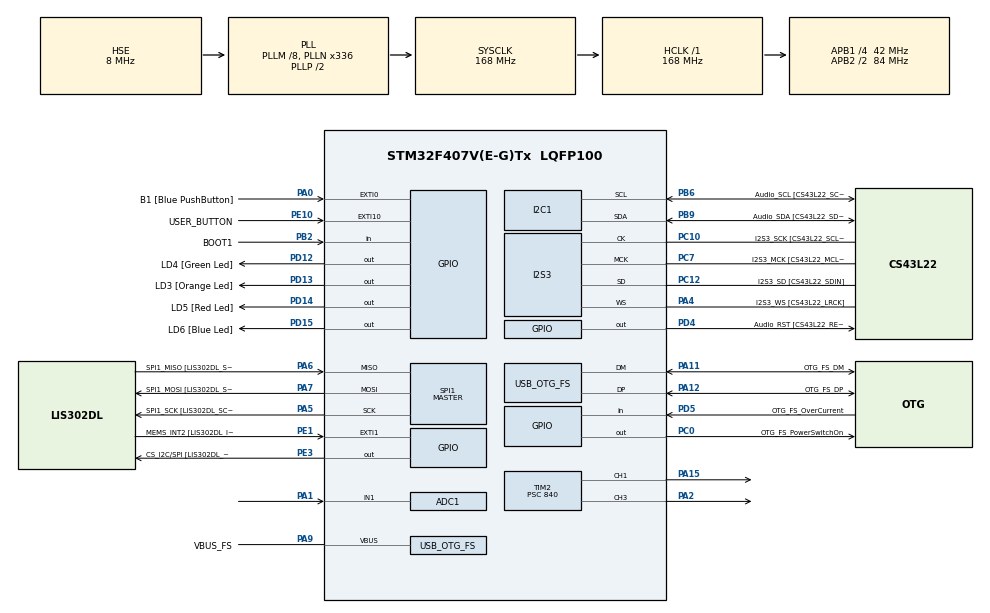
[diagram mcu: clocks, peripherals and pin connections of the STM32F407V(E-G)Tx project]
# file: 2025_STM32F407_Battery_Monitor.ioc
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ADC1.Channel-0\#ChannelRegularConversion=ADC_CHANNEL_1
ADC1.ContinuousConvMode=ENABLE
ADC1.NbrOfConversionFlag=1
ADC1.Rank-0\#ChannelRegularConversion=1
ADC1.SamplingTime-0\#ChannelRegularConversion=ADC_SAMPLETIME_480CYCLES
ADC1.master=1
I2S3.AudioFreq-Half_Duplex_Master=I2S_AUDIOFREQ_96K
I2S3.ErrorAudioFreq=-2.34 %
I2S3.ErrorAudioFreq-Half_Duplex_Master=0.8 %
I2S3.FullDuplexMode=I2S_FULLDUPLEXMODE_DISABLE
I2S3.Instance=SPI$Index
I2S3.RealAudioFreq=93.75 KHz
I2S3.RealAudioFreq-Half_Duplex_Master=96.774 KHz
I2S3.VirtualMode=I2S_MODE_MASTER
Mcu.Family=STM32F4
Mcu.Name=STM32F407V(E-G)Tx
Mcu.Package=LQFP100
NVIC.ADC_IRQn=true\:0\:0\:false\:false\:true\:true\:true\:true
NVIC.EXTI15_10_IRQn=true\:0\:0\:false\:false\:true\:true\:true\:true
NVIC.OTG_FS_IRQn=true\:0\:0\:false\:false\:true\:true\:true\:true
NVIC.PriorityGroup=NVIC_PRIORITYGROUP_0
NVIC.TIM3_IRQn=true\:0\:0\:false\:false\:true\:true\:true\:true
PA0-WKUP.GPIO_Label=B1 [Blue PushButton]
PA0-WKUP.GPIO_ModeDefaultEXTI=GPIO_MODE_EVT_RISING
PA0-WKUP.GPIO_PuPd=GPIO_NOPULL
PA0-WKUP.Signal=GPXTI0
PA1.Signal=ADCx_IN1
PA10.GPIO_Label=OTG_FS_ID
PA10.GPIO_Mode=GPIO_MODE_AF_PP
PA10.GPIO_PuPd=GPIO_NOPULL
PA10.GPIO_Speed=GPIO_SPEED_FREQ_LOW
PA10.Signal=USB_OTG_FS_ID
PA11.GPIO_Label=OTG_FS_DM
PA11.GPIO_Mode=GPIO_MODE_AF_PP
PA11.GPIO_PuPd=GPIO_NOPULL
PA11.GPIO_Speed=GPIO_SPEED_FREQ_LOW
PA11.Mode=Host_Only
PA11.Signal=USB_OTG_FS_DM
PA12.GPIO_Label=OTG_FS_DP
PA12.GPIO_Mode=GPIO_MODE_AF_PP
PA12.GPIO_PuPd=GPIO_NOPULL
PA12.GPIO_Speed=GPIO_SPEED_FREQ_LOW
PA12.Mode=Host_Only
PA12.Signal=USB_OTG_FS_DP
PA13.GPIO_Label=SWDIO
PA13.Mode=Serial_Wire
PA13.Signal=SYS_JTMS-SWDIO
PA14.GPIO_Label=SWCLK
PA14.Mode=Serial_Wire
PA14.Signal=SYS_JTCK-SWCLK
PA15.Signal=S_TIM2_CH1_ETR
PA2.Signal=S_TIM2_CH3
PA4.GPIO_Label=I2S3_WS [CS43L22_LRCK]
PA4.GPIO_Mode=GPIO_MODE_AF_PP
PA4.GPIO_PuPd=GPIO_NOPULL
PA4.GPIO_Speed=GPIO_SPEED_FREQ_LOW
PA4.Mode=Half_Duplex_Master
PA4.Signal=I2S3_WS
PA5.GPIO_Label=SPI1_SCK [LIS302DL_SCL/SPC]
PA5.GPIO_Mode=GPIO_MODE_AF_PP
PA5.GPIO_PuPd=GPIO_NOPULL
PA5.GPIO_Speed=GPIO_SPEED_FREQ_LOW
PA5.Mode=Full_Duplex_Master
PA5.Signal=SPI1_SCK
PA6.GPIO_Label=SPI1_MISO [LIS302DL_SDO]
PA6.GPIO_Mode=GPIO_MODE_AF_PP
PA6.GPIO_PuPd=GPIO_NOPULL
PA6.GPIO_Speed=GPIO_SPEED_FREQ_LOW
PA6.Mode=Full_Duplex_Master
PA6.Signal=SPI1_MISO
PA7.GPIO_Label=SPI1_MOSI [LIS302DL_SDA/SDI/SDO]
PA7.GPIO_Mode=GPIO_MODE_AF_PP
PA7.GPIO_PuPd=GPIO_NOPULL
PA7.GPIO_Speed=GPIO_SPEED_FREQ_LOW
PA7.Mode=Full_Duplex_Master
PA7.Signal=SPI1_MOSI
PA9.GPIO_Label=VBUS_FS
PA9.GPIO_Mode=GPIO_MODE_INPUT
PA9.GPIO_PuPd=GPIO_NOPULL
PA9.Mode=Activate_VBUS
PA9.Signal=USB_OTG_FS_VBUS
PB10.GPIO_Label=CLK_IN [MP45DT02_CLK]
PB10.GPIO_Mode=GPIO_MODE_AF_PP
PB10.GPIO_PuPd=GPIO_NOPULL
PB10.GPIO_Speed=GPIO_SPEED_FREQ_LOW
PB10.Signal=I2S2_CK
PB2.GPIO_Label=BOOT1
PB2.GPIO_Mode=GPIO_MODE_INPUT
PB2.GPIO_PuPd=GPIO_NOPULL
PB2.Signal=GPIO_Input
PB3.GPIO_Label=SWO
PB3.Signal=SYS_JTDO-SWO
PB6.GPIO_Label=Audio_SCL [CS43L22_SCL]
PB6.GPIO_Mode=GPIO_MODE_AF_OD
PB6.GPIO_Pu=GPIO_PULLUP
PB6.GPIO_PuPd=GPIO_NOPULL
PB6.GPIO_Speed=GPIO_SPEED_FREQ_LOW
PB6.Mode=I2C
PB6.Signal=I2C1_SCL
PB9.GPIO_Label=Audio_SDA [CS43L22_SDA]
PB9.GPIO_Mode=GPIO_MODE_AF_OD
PB9.GPIO_Pu=GPIO_PULLUP
PB9.GPIO_PuPd=GPIO_NOPULL
PB9.GPIO_Speed=GPIO_SPEED_FREQ_LOW
PB9.Mode=I2C
PB9.Signal=I2C1_SDA
PC0.GPIO_Label=OTG_FS_PowerSwitchOn
PC0.GPIO_PuPd=GPIO_NOPULL
PC0.GPIO_Speed=GPIO_SPEED_FREQ_LOW
PC0.PinState=GPIO_PIN_SET
PC0.Signal=GPIO_Output
PC10.GPIO_Label=I2S3_SCK [CS43L22_SCLK]
PC10.GPIO_Mode=GPIO_MODE_AF_PP
PC10.GPIO_PuPd=GPIO_NOPULL
PC10.GPIO_Speed=GPIO_SPEED_FREQ_LOW
PC10.Mode=Half_Duplex_Master
PC10.Signal=I2S3_CK
PC12.GPIO_Label=I2S3_SD [CS43L22_SDIN]
PC12.GPIO_Mode=GPIO_MODE_AF_PP
PC12.GPIO_PuPd=GPIO_NOPULL
PC12.GPIO_Speed=GPIO_SPEED_FREQ_LOW
PC12.Mode=Half_Duplex_Master
PC12.Signal=I2S3_SD
PC14-OSC32_IN.GPIO_Label=PC14-OSC32_IN
PC14-OSC32_IN.Mode=LSE-External-Oscillator
PC14-OSC32_IN.Signal=RCC_OSC32_IN
PC15-OSC32_OUT.GPIO_Label=PC15-OSC32_OUT
PC15-OSC32_OUT.Mode=LSE-External-Oscillator
PC15-OSC32_OUT.Signal=RCC_OSC32_OUT
PC3.GPIO_Label=PDM_OUT [MP45DT02_DOUT]
PC3.GPIO_Mode=GPIO_MODE_AF_PP
PC3.GPIO_PuPd=GPIO_NOPULL
PC3.GPIO_Speed=GPIO_SPEED_FREQ_LOW
PC3.Signal=I2S2_SD
PC7.GPIO_Label=I2S3_MCK [CS43L22_MCLK]
PC7.GPIO_Mode=GPIO_MODE_AF_PP
PC7.GPIO_PuPd=GPIO_NOPULL
PC7.GPIO_Speed=GPIO_SPEED_FREQ_LOW
PC7.Mode=Master_Clock_Activated
PC7.Signal=I2S3_MCK
PD12.GPIO_Label=LD4 [Green Led]
PD12.GPIO_PuPd=GPIO_NOPULL
PD12.GPIO_Speed=GPIO_SPEED_FREQ_LOW
PD12.Signal=GPIO_Output
PD13.GPIO_Label=LD3 [Orange Led]
PD13.GPIO_PuPd=GPIO_NOPULL
PD13.GPIO_Speed=GPIO_SPEED_FREQ_LOW
PD13.Signal=GPIO_Output
PD14.GPIO_Label=LD5 [Red Led]
PD14.GPIO_PuPd=GPIO_NOPULL
PD14.GPIO_Speed=GPIO_SPEED_FREQ_LOW
PD14.Signal=GPIO_Output
PD15.GPIO_Label=LD6 [Blue Led]
PD15.GPIO_PuPd=GPIO_NOPULL
PD15.GPIO_Speed=GPIO_SPEED_FREQ_LOW
PD15.Signal=GPIO_Output
PD4.GPIO_Label=Audio_RST [CS43L22_RESET]
PD4.GPIO_PuPd=GPIO_NOPULL
PD4.GPIO_Speed=GPIO_SPEED_FREQ_LOW
PD4.Signal=GPIO_Output
PD5.GPIO_Label=OTG_FS_OverCurrent
PD5.GPIO_Mode=GPIO_MODE_INPUT
PD5.GPIO_PuPd=GPIO_NOPULL
PD5.Signal=GPIO_Input
PE1.GPIO_Label=MEMS_INT2 [LIS302DL_INT2]
PE1.GPIO_ModeDefaultEXTI=GPIO_MODE_EVT_RISING
PE1.GPIO_PuPd=GPIO_NOPULL
PE1.Signal=GPXTI1
PE10.GPIO_Label=USER_BUTTON
PE10.GPIO_ModeDefaultEXTI=GPIO_MODE_IT_RISING
PE10.GPIO_PuPd=GPIO_PULLDOWN
PE10.Signal=GPXTI10
PE3.GPIO_Label=CS_I2C/SPI [LIS302DL_CS_I2C/SPI]
PE3.GPIO_PuPd=GPIO_NOPULL
PE3.GPIO_Speed=GPIO_SPEED_FREQ_LOW
PE3.Signal=GPIO_Output
PH0-OSC_IN.GPIO_Label=PH0-OSC_IN
PH0-OSC_IN.Mode=HSE-External-Oscillator
PH0-OSC_IN.Signal=RCC_OSC_IN
PH1-OSC_OUT.GPIO_Label=PH1-OSC_OUT
PH1-OSC_OUT.Mode=HSE-External-Oscillator
PH1-OSC_OUT.Signal=RCC_OSC_OUT
ProjectManager.HeapSize=0x200
ProjectManager.StackSize=0x400
ProjectManager.TargetToolchain=STM32CubeIDE
RCC.48MHZClocksFreq_Value=48000000
RCC.AHBFreq_Value=168000000
RCC.APB1CLKDivider=RCC_HCLK_DIV4
RCC.APB1Freq_Value=42000000
RCC.APB1TimFreq_Value=84000000
RCC.APB2CLKDivider=RCC_HCLK_DIV2
RCC.APB2Freq_Value=84000000
RCC.APB2TimFreq_Value=168000000
RCC.CortexFreq_Value=168000000
RCC.HCLKFreq_Value=168000000
RCC.HSE_VALUE=8000000
RCC.HSI_VALUE=16000000
RCC.PLLM=8
RCC.PLLN=336
RCC.PLLQ=7
RCC.SYSCLKFreq_VALUE=168000000
RCC.SYSCLKSource=RCC_SYSCLKSOURCE_PLLCLK
RCC.VCOOutputFreq_Value=336000000
SH.ADCx_IN1.0=ADC1_IN1,IN1
SH.S_TIM2_CH1_ETR.0=TIM2_CH1,PWM Generation1 CH1
SH.S_TIM2_CH3.0=TIM2_CH3,PWM Generation3 CH3
SPI1.BaudRatePrescaler-Full_Duplex_Master=SPI_BAUDRATEPRESCALER_2
SPI1.CalculateBaudRate-Full_Duplex_Master=42.0 MBits/s
SPI1.Direction=SPI_DIRECTION_2LINES
SPI1.Mode=SPI_MODE_MASTER
SPI1.Mode-Full_Duplex_Master=SPI_MODE_MASTER
SPI1.VirtualType=VM_MASTER
TIM2.Channel-PWM\ Generation1\ CH1=TIM_CHANNEL_1
TIM2.Channel-PWM\ Generation3\ CH3=TIM_CHANNEL_3
TIM2.Period=10
TIM2.Prescaler=840
TIM2.Pulse-PWM\ Generation1\ CH1=5
TIM2.Pulse-PWM\ Generation3\ CH3=5
TIM3.Period=15000
TIM3.Prescaler=8400
USB_HOST.BSP.number=1
USB_HOST.USBH_HandleTypeDef-CDC_FS=hUsbHostFS
USB_HOST.VirtualModeFS=Cdc
USB_HOST0.BSP.STBoard=false
USB_HOST0.BSP.api=Unknown
USB_HOST0.BSP.instance=PC0
USB_HOST0.BSP.ip=GPIO
USB_HOST0.BSP.mode=Output
USB_HOST0.BSP.name=Drive_VBUS_FS
USB_HOST0.BSP.solution=PC0
USB_OTG_FS.VirtualMode=Host_Only
USB_OTG_FS.phy_itface=HCD_PHY_EMBEDDED
VP_TIM2_VS_ClockSourceINT.Mode=Internal
VP_TIM3_VS_ClockSourceINT.Mode=Internal
VP_USB_HOST_VS_USB_HOST_CDC_FS.Mode=CDC_FS
board=STM32F407G-DISC1

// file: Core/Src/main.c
/* USER CODE BEGIN Header */
/**
  ******************************************************************************
  * @file           : main.c
  * @brief          : Main program body
  ******************************************************************************
  * @attention
  *
  * Copyright (c) 2025 STMicroelectronics.
  * All rights reserved.
  *
  * This software is licensed under terms that can be found in the LICENSE file
  * in the root directory of this software component.
  * If no LICENSE file comes with this software, it is provided AS-IS.
  *
  ******************************************************************************
  */
/* USER CODE END Header */
#include "main.h"
#include "usb_host.h"

ADC_HandleTypeDef hadc1;

I2C_HandleTypeDef hi2c1;

I2S_HandleTypeDef hi2s3;

SPI_HandleTypeDef hspi1;

TIM_HandleTypeDef htim2;
TIM_HandleTypeDef htim3;

/* USER CODE BEGIN PV */

// Set Variables to read voltage from voltage divider
uint16_t gADC_Value = 0;
uint16_t gADC_Percent = 0;
uint16_t gButtonCount = 0; // Counts the amount of times button has been pressed

/* USER CODE END PV */

void SystemClock_Config(void);
static void MX_GPIO_Init(void);
static void MX_I2C1_Init(void);
static void MX_I2S3_Init(void);
static void MX_SPI1_Init(void);
static void MX_ADC1_Init(void);
static void MX_TIM2_Init(void);
static void MX_TIM3_Init(void);
void MX_USB_HOST_Process(void);

/* USER CODE BEGIN 0 */

long map(long x, long in_min, long in_max, long out_min, long out_max) // Define function to map voltage to a percentage
{
	return (x - in_min) * (out_max - out_min + 1) / (in_max - in_min +1) + out_min;
}

enum gCurrentState{Stop,Clockwise,CounterClockwise}; // State machine that determines which direction the motors are spinning
enum gCurrentState gState = Stop;

/* USER CODE END 0 */

int main(void)
{

  /* MCU Configuration--------------------------------------------------------*/

  /* Reset of all peripherals, Initializes the Flash interface and the Systick. */
  HAL_Init();

  /* Configure the system clock */
  SystemClock_Config();

  /* Initialize all configured peripherals */
  MX_GPIO_Init();
  MX_I2C1_Init();
  MX_I2S3_Init();
  MX_SPI1_Init();
  MX_USB_HOST_Init();
  MX_ADC1_Init();
  MX_TIM2_Init();
  MX_TIM3_Init();

  /* Infinite loop */
  /* USER CODE BEGIN WHILE */
  while (1)
  {
	  // Begins Reading of the voltage divider to monitor battery voltage
	  HAL_ADC_Start(&hadc1);
	  HAL_ADC_PollForConversion(&hadc1, 100);
	  gADC_Value = HAL_ADC_GetValue(&hadc1);
	  HAL_ADC_Stop(&hadc1);

	  gADC_Percent = map(gADC_Value, 0, 4096, 0, 100); // Converts reading to a percent

	  HAL_Delay(500);

	  switch(gState) // State machine
	  {
	  	  case Stop:
	  		  HAL_TIM_Base_Stop(&htim2); // Stops PWM generation
	  		  break;
	  	  case Clockwise:
	  		if(gADC_Percent < (6.5/12))
	  		{
	  			HAL_TIM_Base_Stop(&htim2);
	  		}
	  		else if(gADC_Percent >= (6.5/12) && gADC_Percent <= (7/12))
	  		{
	  		 __HAL_TIM_SET_COMPARE(&htim2, TIM_CHANNEL_1, 2); // If between 6.5 and 7 Volts, rotates slow speed
	  		 __HAL_TIM_SET_COMPARE(&htim2, TIM_CHANNEL_2, 0);
	  		}
	  		else
	  		{
	  			__HAL_TIM_SET_COMPARE(&htim2, TIM_CHANNEL_1, 5); // PWM set to 50% duty cycle
	  			__HAL_TIM_SET_COMPARE(&htim2, TIM_CHANNEL_2, 0);
	  		}
	  		  break;
	  	  case CounterClockwise: // Applies same concept as clockwise except polarities are reversed
	  		  if(gADC_Percent < (6.5/12))
	  		  {
	  			  HAL_TIM_Base_Stop(&htim2);
	  		  }
	  		  else if(gADC_Percent >= (6.5/12) && gADC_Percent <= (7/12))
	  		  {
	  			  __HAL_TIM_SET_COMPARE(&htim2, TIM_CHANNEL_1, 0);
	  			  __HAL_TIM_SET_COMPARE(&htim2, TIM_CHANNEL_2, 2);
	  		  }
	  		  else
	  		  {
	  			  __HAL_TIM_SET_COMPARE(&htim2, TIM_CHANNEL_1, 0);
	  			  __HAL_TIM_SET_COMPARE(&htim2, TIM_CHANNEL_2, 5);
	  		  }
	  		  break;
	  	 }

    /* USER CODE END WHILE */
    MX_USB_HOST_Process();

  }
}

void SystemClock_Config(void)
{
  RCC_OscInitTypeDef RCC_OscInitStruct = {0};
  RCC_ClkInitTypeDef RCC_ClkInitStruct = {0};

  /** Configure the main internal regulator output voltage
  */
  __HAL_RCC_PWR_CLK_ENABLE();
  __HAL_PWR_VOLTAGESCALING_CONFIG(PWR_REGULATOR_VOLTAGE_SCALE1);

  /** Initializes the RCC Oscillators according to the specified parameters
  * in the RCC_OscInitTypeDef structure.
  */
  RCC_OscInitStruct.OscillatorType = RCC_OSCILLATORTYPE_HSE;
  RCC_OscInitStruct.HSEState = RCC_HSE_ON;
  RCC_OscInitStruct.PLL.PLLState = RCC_PLL_ON;
  RCC_OscInitStruct.PLL.PLLSource = RCC_PLLSOURCE_HSE;
  RCC_OscInitStruct.PLL.PLLM = 8;
  RCC_OscInitStruct.PLL.PLLN = 336;
  RCC_OscInitStruct.PLL.PLLP = RCC_PLLP_DIV2;
  RCC_OscInitStruct.PLL.PLLQ = 7;
  if (HAL_RCC_OscConfig(&RCC_OscInitStruct) != HAL_OK)
  {
    Error_Handler();
  }

  /** Initializes the CPU, AHB and APB buses clocks
  */
  RCC_ClkInitStruct.ClockType = RCC_CLOCKTYPE_HCLK|RCC_CLOCKTYPE_SYSCLK
                              |RCC_CLOCKTYPE_PCLK1|RCC_CLOCKTYPE_PCLK2;
  RCC_ClkInitStruct.SYSCLKSource = RCC_SYSCLKSOURCE_PLLCLK;
  RCC_ClkInitStruct.AHBCLKDivider = RCC_SYSCLK_DIV1;
  RCC_ClkInitStruct.APB1CLKDivider = RCC_HCLK_DIV4;
  RCC_ClkInitStruct.APB2CLKDivider = RCC_HCLK_DIV2;

  if (HAL_RCC_ClockConfig(&RCC_ClkInitStruct, FLASH_LATENCY_5) != HAL_OK)
  {
    Error_Handler();
  }
}

static void MX_ADC1_Init(void)
{

  ADC_ChannelConfTypeDef sConfig = {0};

  /** Configure the global features of the ADC (Clock, Resolution, Data Alignment and number of conversion)
  */
  hadc1.Instance = ADC1;
  hadc1.Init.ClockPrescaler = ADC_CLOCK_SYNC_PCLK_DIV4;
  hadc1.Init.Resolution = ADC_RESOLUTION_12B;
  hadc1.Init.ScanConvMode = DISABLE;
  hadc1.Init.ContinuousConvMode = ENABLE;
  hadc1.Init.DiscontinuousConvMode = DISABLE;
  hadc1.Init.ExternalTrigConvEdge = ADC_EXTERNALTRIGCONVEDGE_NONE;
  hadc1.Init.ExternalTrigConv = ADC_SOFTWARE_START;
  hadc1.Init.DataAlign = ADC_DATAALIGN_RIGHT;
  hadc1.Init.NbrOfConversion = 1;
  hadc1.Init.DMAContinuousRequests = DISABLE;
  hadc1.Init.EOCSelection = ADC_EOC_SINGLE_CONV;
  if (HAL_ADC_Init(&hadc1) != HAL_OK)
  {
    Error_Handler();
  }

  /** Configure for the selected ADC regular channel its corresponding rank in the sequencer and its sample time.
  */
  sConfig.Channel = ADC_CHANNEL_1;
  sConfig.Rank = 1;
  sConfig.SamplingTime = ADC_SAMPLETIME_480CYCLES;
  if (HAL_ADC_ConfigChannel(&hadc1, &sConfig) != HAL_OK)
  {
    Error_Handler();
  }

}

static void MX_I2C1_Init(void)
{

  hi2c1.Instance = I2C1;
  hi2c1.Init.ClockSpeed = 100000;
  hi2c1.Init.DutyCycle = I2C_DUTYCYCLE_2;
  hi2c1.Init.OwnAddress1 = 0;
  hi2c1.Init.AddressingMode = I2C_ADDRESSINGMODE_7BIT;
  hi2c1.Init.DualAddressMode = I2C_DUALADDRESS_DISABLE;
  hi2c1.Init.OwnAddress2 = 0;
  hi2c1.Init.GeneralCallMode = I2C_GENERALCALL_DISABLE;
  hi2c1.Init.NoStretchMode = I2C_NOSTRETCH_DISABLE;
  if (HAL_I2C_Init(&hi2c1) != HAL_OK)
  {
    Error_Handler();
  }

}

static void MX_I2S3_Init(void)
{

  hi2s3.Instance = SPI3;
  hi2s3.Init.Mode = I2S_MODE_MASTER_TX;
  hi2s3.Init.Standard = I2S_STANDARD_PHILIPS;
  hi2s3.Init.DataFormat = I2S_DATAFORMAT_16B;
  hi2s3.Init.MCLKOutput = I2S_MCLKOUTPUT_ENABLE;
  hi2s3.Init.AudioFreq = I2S_AUDIOFREQ_96K;
  hi2s3.Init.CPOL = I2S_CPOL_LOW;
  hi2s3.Init.ClockSource = I2S_CLOCK_PLL;
  hi2s3.Init.FullDuplexMode = I2S_FULLDUPLEXMODE_DISABLE;
  if (HAL_I2S_Init(&hi2s3) != HAL_OK)
  {
    Error_Handler();
  }

}

static void MX_SPI1_Init(void)
{

  /* SPI1 parameter configuration*/
  hspi1.Instance = SPI1;
  hspi1.Init.Mode = SPI_MODE_MASTER;
  hspi1.Init.Direction = SPI_DIRECTION_2LINES;
  hspi1.Init.DataSize = SPI_DATASIZE_8BIT;
  hspi1.Init.CLKPolarity = SPI_POLARITY_LOW;
  hspi1.Init.CLKPhase = SPI_PHASE_1EDGE;
  hspi1.Init.NSS = SPI_NSS_SOFT;
  hspi1.Init.BaudRatePrescaler = SPI_BAUDRATEPRESCALER_2;
  hspi1.Init.FirstBit = SPI_FIRSTBIT_MSB;
  hspi1.Init.TIMode = SPI_TIMODE_DISABLE;
  hspi1.Init.CRCCalculation = SPI_CRCCALCULATION_DISABLE;
  hspi1.Init.CRCPolynomial = 10;
  if (HAL_SPI_Init(&hspi1) != HAL_OK)
  {
    Error_Handler();
  }

}

static void MX_TIM2_Init(void)
{

  TIM_ClockConfigTypeDef sClockSourceConfig = {0};
  TIM_MasterConfigTypeDef sMasterConfig = {0};
  TIM_OC_InitTypeDef sConfigOC = {0};

  htim2.Instance = TIM2;
  htim2.Init.Prescaler = 840;
  htim2.Init.CounterMode = TIM_COUNTERMODE_UP;
  htim2.Init.Period = 10;
  htim2.Init.ClockDivision = TIM_CLOCKDIVISION_DIV1;
  htim2.Init.AutoReloadPreload = TIM_AUTORELOAD_PRELOAD_DISABLE;
  if (HAL_TIM_Base_Init(&htim2) != HAL_OK)
  {
    Error_Handler();
  }
  sClockSourceConfig.ClockSource = TIM_CLOCKSOURCE_INTERNAL;
  if (HAL_TIM_ConfigClockSource(&htim2, &sClockSourceConfig) != HAL_OK)
  {
    Error_Handler();
  }
  if (HAL_TIM_PWM_Init(&htim2) != HAL_OK)
  {
    Error_Handler();
  }
  sMasterConfig.MasterOutputTrigger = TIM_TRGO_RESET;
  sMasterConfig.MasterSlaveMode = TIM_MASTERSLAVEMODE_DISABLE;
  if (HAL_TIMEx_MasterConfigSynchronization(&htim2, &sMasterConfig) != HAL_OK)
  {
    Error_Handler();
  }
  sConfigOC.OCMode = TIM_OCMODE_PWM1;
  sConfigOC.Pulse = 5;
  sConfigOC.OCPolarity = TIM_OCPOLARITY_HIGH;
  sConfigOC.OCFastMode = TIM_OCFAST_DISABLE;
  if (HAL_TIM_PWM_ConfigChannel(&htim2, &sConfigOC, TIM_CHANNEL_1) != HAL_OK)
  {
    Error_Handler();
  }
  if (HAL_TIM_PWM_ConfigChannel(&htim2, &sConfigOC, TIM_CHANNEL_3) != HAL_OK)
  {
    Error_Handler();
  }
  HAL_TIM_MspPostInit(&htim2);

}

static void MX_TIM3_Init(void)
{

  TIM_ClockConfigTypeDef sClockSourceConfig = {0};
  TIM_MasterConfigTypeDef sMasterConfig = {0};

  htim3.Instance = TIM3;
  htim3.Init.Prescaler = 8400;
  htim3.Init.CounterMode = TIM_COUNTERMODE_UP;
  htim3.Init.Period = 15000;
  htim3.Init.ClockDivision = TIM_CLOCKDIVISION_DIV1;
  htim3.Init.AutoReloadPreload = TIM_AUTORELOAD_PRELOAD_DISABLE;
  if (HAL_TIM_Base_Init(&htim3) != HAL_OK)
  {
    Error_Handler();
  }
  sClockSourceConfig.ClockSource = TIM_CLOCKSOURCE_INTERNAL;
  if (HAL_TIM_ConfigClockSource(&htim3, &sClockSourceConfig) != HAL_OK)
  {
    Error_Handler();
  }
  sMasterConfig.MasterOutputTrigger = TIM_TRGO_RESET;
  sMasterConfig.MasterSlaveMode = TIM_MASTERSLAVEMODE_DISABLE;
  if (HAL_TIMEx_MasterConfigSynchronization(&htim3, &sMasterConfig) != HAL_OK)
  {
    Error_Handler();
  }

}

static void MX_GPIO_Init(void)
{
  GPIO_InitTypeDef GPIO_InitStruct = {0};

  /* GPIO Ports Clock Enable */
  __HAL_RCC_GPIOE_CLK_ENABLE();
  __HAL_RCC_GPIOC_CLK_ENABLE();
  __HAL_RCC_GPIOH_CLK_ENABLE();
  __HAL_RCC_GPIOA_CLK_ENABLE();
  __HAL_RCC_GPIOB_CLK_ENABLE();
  __HAL_RCC_GPIOD_CLK_ENABLE();

  /*Configure GPIO pin Output Level */
  HAL_GPIO_WritePin(CS_I2C_SPI_GPIO_Port, CS_I2C_SPI_Pin, GPIO_PIN_RESET);

  /*Configure GPIO pin Output Level */
  HAL_GPIO_WritePin(OTG_FS_PowerSwitchOn_GPIO_Port, OTG_FS_PowerSwitchOn_Pin, GPIO_PIN_SET);

  /*Configure GPIO pin Output Level */
  HAL_GPIO_WritePin(GPIOD, LD4_Pin|LD3_Pin|LD5_Pin|LD6_Pin
                          |Audio_RST_Pin, GPIO_PIN_RESET);

  /*Configure GPIO pin : CS_I2C_SPI_Pin */
  GPIO_InitStruct.Pin = CS_I2C_SPI_Pin;
  GPIO_InitStruct.Mode = GPIO_MODE_OUTPUT_PP;
  GPIO_InitStruct.Pull = GPIO_NOPULL;
  GPIO_InitStruct.Speed = GPIO_SPEED_FREQ_LOW;
  HAL_GPIO_Init(CS_I2C_SPI_GPIO_Port, &GPIO_InitStruct);

  /*Configure GPIO pin : OTG_FS_PowerSwitchOn_Pin */
  GPIO_InitStruct.Pin = OTG_FS_PowerSwitchOn_Pin;
  GPIO_InitStruct.Mode = GPIO_MODE_OUTPUT_PP;
  GPIO_InitStruct.Pull = GPIO_NOPULL;
  GPIO_InitStruct.Speed = GPIO_SPEED_FREQ_LOW;
  HAL_GPIO_Init(OTG_FS_PowerSwitchOn_GPIO_Port, &GPIO_InitStruct);

  /*Configure GPIO pin : PDM_OUT_Pin */
  GPIO_InitStruct.Pin = PDM_OUT_Pin;
  GPIO_InitStruct.Mode = GPIO_MODE_AF_PP;
  GPIO_InitStruct.Pull = GPIO_NOPULL;
  GPIO_InitStruct.Speed = GPIO_SPEED_FREQ_LOW;
  GPIO_InitStruct.Alternate = GPIO_AF5_SPI2;
  HAL_GPIO_Init(PDM_OUT_GPIO_Port, &GPIO_InitStruct);

  /*Configure GPIO pin : B1_Pin */
  GPIO_InitStruct.Pin = B1_Pin;
  GPIO_InitStruct.Mode = GPIO_MODE_EVT_RISING;
  GPIO_InitStruct.Pull = GPIO_NOPULL;
  HAL_GPIO_Init(B1_GPIO_Port, &GPIO_InitStruct);

  /*Configure GPIO pin : BOOT1_Pin */
  GPIO_InitStruct.Pin = BOOT1_Pin;
  GPIO_InitStruct.Mode = GPIO_MODE_INPUT;
  GPIO_InitStruct.Pull = GPIO_NOPULL;
  HAL_GPIO_Init(BOOT1_GPIO_Port, &GPIO_InitStruct);

  /*Configure GPIO pin : USER_BUTTON_Pin */
  GPIO_InitStruct.Pin = USER_BUTTON_Pin;
  GPIO_InitStruct.Mode = GPIO_MODE_IT_RISING;
  GPIO_InitStruct.Pull = GPIO_PULLDOWN;
  HAL_GPIO_Init(USER_BUTTON_GPIO_Port, &GPIO_InitStruct);

  /*Configure GPIO pin : CLK_IN_Pin */
  GPIO_InitStruct.Pin = CLK_IN_Pin;
  GPIO_InitStruct.Mode = GPIO_MODE_AF_PP;
  GPIO_InitStruct.Pull = GPIO_NOPULL;
  GPIO_InitStruct.Speed = GPIO_SPEED_FREQ_LOW;
  GPIO_InitStruct.Alternate = GPIO_AF5_SPI2;
  HAL_GPIO_Init(CLK_IN_GPIO_Port, &GPIO_InitStruct);

  /*Configure GPIO pins : LD4_Pin LD3_Pin LD5_Pin LD6_Pin
                           Audio_RST_Pin */
  GPIO_InitStruct.Pin = LD4_Pin|LD3_Pin|LD5_Pin|LD6_Pin
                          |Audio_RST_Pin;
  GPIO_InitStruct.Mode = GPIO_MODE_OUTPUT_PP;
  GPIO_InitStruct.Pull = GPIO_NOPULL;
  GPIO_InitStruct.Speed = GPIO_SPEED_FREQ_LOW;
  HAL_GPIO_Init(GPIOD, &GPIO_InitStruct);

  /*Configure GPIO pin : OTG_FS_OverCurrent_Pin */
  GPIO_InitStruct.Pin = OTG_FS_OverCurrent_Pin;
  GPIO_InitStruct.Mode = GPIO_MODE_INPUT;
  GPIO_InitStruct.Pull = GPIO_NOPULL;
  HAL_GPIO_Init(OTG_FS_OverCurrent_GPIO_Port, &GPIO_InitStruct);

  /*Configure GPIO pin : MEMS_INT2_Pin */
  GPIO_InitStruct.Pin = MEMS_INT2_Pin;
  GPIO_InitStruct.Mode = GPIO_MODE_EVT_RISING;
  GPIO_InitStruct.Pull = GPIO_NOPULL;
  HAL_GPIO_Init(MEMS_INT2_GPIO_Port, &GPIO_InitStruct);

  /* EXTI interrupt init*/
  HAL_NVIC_SetPriority(EXTI15_10_IRQn, 0, 0);
  HAL_NVIC_EnableIRQ(EXTI15_10_IRQn);

}

/* USER CODE BEGIN 4 */

void HAL_TIM_PulseFinishedCallback(TIM_HandleTypeDef *htim)
{
	HAL_TIM_Base_Stop_IT(&htim3); // Resets timer
	if(gButtonCount == 1)
	{
		gState = Stop;
	}
	else if(gButtonCount == 2)
	{
		gState = Clockwise;
	}
	else if(gButtonCount == 3)
	{
		gState = CounterClockwise;
	}

	gButtonCount =0; // Resets button count
}

void HAL_GPIO_EXTI_Callback(uint16_t GPIO_Pin) // When button is pressed enables timer to see how many times button is pressed
{
	if(GPIO_Pin == USER_BUTTON_Pin)
	{
		gButtonCount++;
		HAL_TIM_Base_Start_IT(&htim3);
	}
}

/* USER CODE END 4 */

void Error_Handler(void)
{
  __disable_irq();
  while (1)
  {
  }
}
